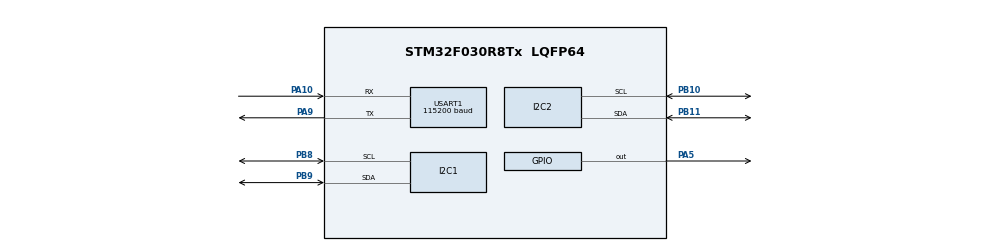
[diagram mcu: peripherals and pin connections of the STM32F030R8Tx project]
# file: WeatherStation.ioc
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Dma.Request0=USART1_RX
Dma.USART1_RX.0.Direction=DMA_PERIPH_TO_MEMORY
Dma.USART1_RX.0.Instance=DMA1_Channel3
Dma.USART1_RX.0.MemDataAlignment=DMA_MDATAALIGN_BYTE
Dma.USART1_RX.0.MemInc=DMA_MINC_ENABLE
Dma.USART1_RX.0.Mode=DMA_NORMAL
Dma.USART1_RX.0.PeriphDataAlignment=DMA_PDATAALIGN_BYTE
Dma.USART1_RX.0.PeriphInc=DMA_PINC_DISABLE
Dma.USART1_RX.0.Priority=DMA_PRIORITY_LOW
FREERTOS.Tasks01=defaultTask,24,256,StartDefaultTask,Default,NULL,Dynamic,NULL,NULL
FREERTOS.configTOTAL_HEAP_SIZE=2048
FREERTOS.configUSE_NEWLIB_REENTRANT=1
Mcu.Family=STM32F0
Mcu.Name=STM32F030R8Tx
Mcu.Package=LQFP64
NVIC.DMA1_Channel2_3_IRQn=true\:3\:0\:false\:false\:true\:true\:false\:true
NVIC.TIM6_IRQn=true\:3\:0\:false\:false\:true\:false\:false\:true
NVIC.TimeBase=TIM6_IRQn
NVIC.TimeBaseIP=TIM6
NVIC.USART1_IRQn=true\:3\:0\:false\:false\:true\:true\:true\:true
PA10.Mode=Asynchronous
PA10.Signal=USART1_RX
PA5.Signal=GPIO_Output
PA9.Mode=Asynchronous
PA9.Signal=USART1_TX
PB10.Mode=I2C
PB10.Signal=I2C2_SCL
PB11.Mode=I2C
PB11.Signal=I2C2_SDA
PB8.Mode=I2C
PB8.Signal=I2C1_SCL
PB9.Mode=I2C
PB9.Signal=I2C1_SDA
ProjectManager.HeapSize=0x200
ProjectManager.StackSize=0x400
ProjectManager.TargetToolchain=STM32CubeIDE
USART1.BaudRate=115200
USART1.VirtualMode-Asynchronous=VM_ASYNC
VP_FREERTOS_VS_CMSIS_V2.Mode=CMSIS_V2
VP_SYS_VS_tim6.Mode=TIM6
board=custom

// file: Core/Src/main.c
/* USER CODE BEGIN Header */
/**
 ******************************************************************************
 * @file           : main.c
 * @brief          : Main program body
 ******************************************************************************
 * @attention
 *
 * <h2><center>&copy; Copyright (c) 2021 STMicroelectronics.
 * All rights reserved.</center></h2>
 *
 * This software component is licensed by ST under BSD 3-Clause license,
 * the "License"; You may not use this file except in compliance with the
 * License. You may obtain a copy of the License at:
 *                        opensource.org/licenses/BSD-3-Clause
 *
 ******************************************************************************
 */
/* USER CODE END Header */
#include "main.h"
#include "cmsis_os.h"

/* USER CODE BEGIN Includes */
#include <stdio.h>
#include <stdlib.h>
#include <string.h>

#include "BMPXX80.h"
#include "SI7021.h"
#include "ESP8266.h"

/* USER CODE END Includes */

/* USER CODE BEGIN PD */
#define MILLISECONDS_BETWEEN_REQUESTS 60000
// Defines to enable parts of software
#define MEASURE_BMP280
#define MEASURE_SI7021
#define SEND_ESP8266

/* USER CODE END PD */

I2C_HandleTypeDef hi2c1;
I2C_HandleTypeDef hi2c2;

UART_HandleTypeDef huart1;
DMA_HandleTypeDef hdma_usart1_rx;

/* Definitions for defaultTask */
osThreadId_t defaultTaskHandle;
const osThreadAttr_t defaultTask_attributes = {
		.name = "defaultTask",
		.stack_size = 256 * 4,
		.priority = (osPriority_t) osPriorityNormal,
};
/* USER CODE BEGIN PV */
float bmp_temperature, si_temperature, si_humidity;
int32_t bmp_pressure;
int isOK = 0;
char buffer[100];
int LastRun = 60000;
/* USER CODE END PV */

void SystemClock_Config(void);
static void MX_GPIO_Init(void);
static void MX_I2C2_Init(void);
static void MX_DMA_Init(void);
static void MX_USART1_UART_Init(void);
static void MX_I2C1_Init(void);
void StartDefaultTask(void *argument);

/* USER CODE BEGIN 0 */

int waitForOK(int iterations)
{
	iterations /= 10;
	// 600 * 100 MS = 1 minute.
	isOK = 0;
	for (int i = 0; i < iterations; i++) {
		/* isOK becomes one if OK is found in serial feedback.
		 * (HAL_UARTEx_RxEventCallback) handles isOK.
		 * If OK is found, reset it, wait one second, and return.
		 */
		if(isOK) {
			isOK = 0;
			osDelay(1000 / portTICK_PERIOD_MS); // 1 Second
			return 1;
		}
		osDelay(10 / portTICK_PERIOD_MS); // 100 MS
	}
	return 0;
}

void sendCommand(char out[]){
	HAL_UART_Transmit(&huart1, (uint8_t *) out, strlen(out), 10);
}

/* USER CODE END 0 */

int main(void)
{

	/* MCU Configuration--------------------------------------------------------*/

	/* Reset of all peripherals, Initializes the Flash interface and the Systick. */
	HAL_Init();

	/* Configure the system clock */
	SystemClock_Config();

	/* Initialize all configured peripherals */
	MX_GPIO_Init();
	MX_I2C2_Init();
	MX_DMA_Init();
	MX_USART1_UART_Init();
	MX_I2C1_Init();

	/* Init scheduler */
	osKernelInitialize();

	/* Create the thread(s) */
	/* creation of defaultTask */
	defaultTaskHandle = osThreadNew(StartDefaultTask, NULL, &defaultTask_attributes);

	/* USER CODE BEGIN RTOS_EVENTS */
#ifdef MEASURE_BMP280
	BMP280_Init(&hi2c2, BMP280_TEMPERATURE_16BIT, BMP280_STANDARD, BMP280_FORCEDMODE);
#endif

#ifdef MEASURE_SI7021
	SI7021_Init(&hi2c1);
#endif

	/* add events, ... */
	/* USER CODE END RTOS_EVENTS */

	/* Start scheduler */
	osKernelStart();

	/* We should never get here as control is now taken by the scheduler */
	/* Infinite loop */
	while (1)
	{

	}
}

void SystemClock_Config(void)
{
	RCC_OscInitTypeDef RCC_OscInitStruct = {0};
	RCC_ClkInitTypeDef RCC_ClkInitStruct = {0};
	RCC_PeriphCLKInitTypeDef PeriphClkInit = {0};

	/** Initializes the RCC Oscillators according to the specified parameters
	 * in the RCC_OscInitTypeDef structure.
	 */
	RCC_OscInitStruct.OscillatorType = RCC_OSCILLATORTYPE_HSI;
	RCC_OscInitStruct.HSIState = RCC_HSI_ON;
	RCC_OscInitStruct.HSICalibrationValue = RCC_HSICALIBRATION_DEFAULT;
	RCC_OscInitStruct.PLL.PLLState = RCC_PLL_NONE;
	if (HAL_RCC_OscConfig(&RCC_OscInitStruct) != HAL_OK)
	{
		Error_Handler();
	}
	/** Initializes the CPU, AHB and APB buses clocks
	 */
	RCC_ClkInitStruct.ClockType = RCC_CLOCKTYPE_HCLK|RCC_CLOCKTYPE_SYSCLK
			|RCC_CLOCKTYPE_PCLK1;
	RCC_ClkInitStruct.SYSCLKSource = RCC_SYSCLKSOURCE_HSI;
	RCC_ClkInitStruct.AHBCLKDivider = RCC_SYSCLK_DIV1;
	RCC_ClkInitStruct.APB1CLKDivider = RCC_HCLK_DIV1;

	if (HAL_RCC_ClockConfig(&RCC_ClkInitStruct, FLASH_LATENCY_0) != HAL_OK)
	{
		Error_Handler();
	}
	PeriphClkInit.PeriphClockSelection = RCC_PERIPHCLK_USART1|RCC_PERIPHCLK_I2C1;
	PeriphClkInit.Usart1ClockSelection = RCC_USART1CLKSOURCE_PCLK1;
	PeriphClkInit.I2c1ClockSelection = RCC_I2C1CLKSOURCE_HSI;
	if (HAL_RCCEx_PeriphCLKConfig(&PeriphClkInit) != HAL_OK)
	{
		Error_Handler();
	}
}

static void MX_I2C1_Init(void)
{

	hi2c1.Instance = I2C1;
	hi2c1.Init.Timing = 0x2000090E;
	hi2c1.Init.OwnAddress1 = 0;
	hi2c1.Init.AddressingMode = I2C_ADDRESSINGMODE_7BIT;
	hi2c1.Init.DualAddressMode = I2C_DUALADDRESS_DISABLE;
	hi2c1.Init.OwnAddress2 = 0;
	hi2c1.Init.OwnAddress2Masks = I2C_OA2_NOMASK;
	hi2c1.Init.GeneralCallMode = I2C_GENERALCALL_DISABLE;
	hi2c1.Init.NoStretchMode = I2C_NOSTRETCH_DISABLE;
	if (HAL_I2C_Init(&hi2c1) != HAL_OK)
	{
		Error_Handler();
	}
	/** Configure Analogue filter
	 */
	if (HAL_I2CEx_ConfigAnalogFilter(&hi2c1, I2C_ANALOGFILTER_ENABLE) != HAL_OK)
	{
		Error_Handler();
	}
	/** Configure Digital filter
	 */
	if (HAL_I2CEx_ConfigDigitalFilter(&hi2c1, 0) != HAL_OK)
	{
		Error_Handler();
	}

}

static void MX_I2C2_Init(void)
{

	hi2c2.Instance = I2C2;
	hi2c2.Init.Timing = 0x2000090E;
	hi2c2.Init.OwnAddress1 = 0;
	hi2c2.Init.AddressingMode = I2C_ADDRESSINGMODE_7BIT;
	hi2c2.Init.DualAddressMode = I2C_DUALADDRESS_DISABLE;
	hi2c2.Init.OwnAddress2 = 0;
	hi2c2.Init.OwnAddress2Masks = I2C_OA2_NOMASK;
	hi2c2.Init.GeneralCallMode = I2C_GENERALCALL_DISABLE;
	hi2c2.Init.NoStretchMode = I2C_NOSTRETCH_DISABLE;
	if (HAL_I2C_Init(&hi2c2) != HAL_OK)
	{
		Error_Handler();
	}
	/** Configure Analogue filter
	 */
	if (HAL_I2CEx_ConfigAnalogFilter(&hi2c2, I2C_ANALOGFILTER_ENABLE) != HAL_OK)
	{
		Error_Handler();
	}
	/** Configure Digital filter
	 */
	if (HAL_I2CEx_ConfigDigitalFilter(&hi2c2, 0) != HAL_OK)
	{
		Error_Handler();
	}

}

static void MX_USART1_UART_Init(void)
{

	huart1.Instance = USART1;
	huart1.Init.BaudRate = 115200;
	huart1.Init.WordLength = UART_WORDLENGTH_8B;
	huart1.Init.StopBits = UART_STOPBITS_1;
	huart1.Init.Parity = UART_PARITY_NONE;
	huart1.Init.Mode = UART_MODE_TX_RX;
	huart1.Init.HwFlowCtl = UART_HWCONTROL_NONE;
	huart1.Init.OverSampling = UART_OVERSAMPLING_16;
	huart1.Init.OneBitSampling = UART_ONE_BIT_SAMPLE_DISABLE;
	huart1.AdvancedInit.AdvFeatureInit = UART_ADVFEATURE_NO_INIT;
	if (HAL_UART_Init(&huart1) != HAL_OK)
	{
		Error_Handler();
	}

}

static void MX_DMA_Init(void)
{

	/* DMA controller clock enable */
	__HAL_RCC_DMA1_CLK_ENABLE();

	/* DMA interrupt init */
	/* DMA1_Channel2_3_IRQn interrupt configuration */
	HAL_NVIC_SetPriority(DMA1_Channel2_3_IRQn, 3, 0);
	HAL_NVIC_EnableIRQ(DMA1_Channel2_3_IRQn);

}

static void MX_GPIO_Init(void)
{
	GPIO_InitTypeDef GPIO_InitStruct = {0};

	/* GPIO Ports Clock Enable */
	__HAL_RCC_GPIOA_CLK_ENABLE();
	__HAL_RCC_GPIOB_CLK_ENABLE();

	/*Configure GPIO pin Output Level */
	HAL_GPIO_WritePin(GPIOA, GPIO_PIN_5, GPIO_PIN_RESET);

	/*Configure GPIO pin : PA5 */
	GPIO_InitStruct.Pin = GPIO_PIN_5;
	GPIO_InitStruct.Mode = GPIO_MODE_OUTPUT_PP;
	GPIO_InitStruct.Pull = GPIO_NOPULL;
	GPIO_InitStruct.Speed = GPIO_SPEED_FREQ_LOW;
	HAL_GPIO_Init(GPIOA, &GPIO_InitStruct);

}

void StartDefaultTask(void *argument)
{
	/* USER CODE BEGIN 5 */
	/* Infinite loop */
	for(;;)
	{
		while(HAL_GetTick() - LastRun < MILLISECONDS_BETWEEN_REQUESTS);
		LastRun = HAL_GetTick();
		HAL_GPIO_TogglePin(GPIOA, GPIO_PIN_5);
#ifdef MEASURE_BMP280
		BMP280_ReadTemperatureAndPressure(&bmp_temperature, &bmp_pressure);
#else
		bmp_temperature = (rand() % (50 + 1 - (-20))) + (-20);
		bmp_pressure = (rand() % (1100 + 1 - 900)) + 900;
#endif

#ifdef MEASURE_SI7021
		SI7021_Measure(&si_temperature, &si_humidity, &hi2c1);
#else
		si_temperature = (rand() % (50 + 1 - (-20))) + (-20);
		si_humidity = (rand() % (100 + 1 - 0)) + 0;
#endif

		int si_temperature_int = (int)si_temperature;
		int si_humidity_int = (int)si_humidity;
		int bmp_pressure_int = (int)bmp_pressure;

#ifdef MEASURE_BMP280
		bmp_pressure_int /= 100;
#endif
#ifdef SEND_ESP8266
		// Disable echoing
		Ringbuf_Reset_Buf();
		Ringbuf_Reset_DMA();
		sendCommand("ATE1\r\n");
		if (!waitForOK(1000)) {
			Ringbuf_Reset_Buf();
			Ringbuf_Reset_DMA();
			osDelay(1000 / portTICK_PERIOD_MS);
		}

		// Set mode to AP client
		Ringbuf_Reset_Buf();
		Ringbuf_Reset_DMA();
		cwmode: sendCommand("AT+CWMODE=1\r\n");
		if (!waitForOK(5000)) {
			Ringbuf_Reset_Buf();
			Ringbuf_Reset_DMA();
			osDelay(1000 / portTICK_PERIOD_MS);
			goto cwmode;
		}

		// Connect to AP
		Ringbuf_Reset_Buf();
		Ringbuf_Reset_DMA();
		connect: sendCommand("AT+CWJAP=\"LAPTOP-VG095PM22913\",\"3987<Cs0\"\r\n");
		if (!waitForOK(16000)) {
			Ringbuf_Reset_Buf();
			Ringbuf_Reset_DMA();
			osDelay(1000 / portTICK_PERIOD_MS);
			goto cwmode;
		}

		// Make TCP connection
		Ringbuf_Reset_Buf();
		Ringbuf_Reset_DMA();
		tcp: sendCommand("AT+CIPSTART=\"TCP\",\"81.207.176.52\",8081\r\n");
		if (!waitForOK(5000)) {
			Ringbuf_Reset_Buf();
			Ringbuf_Reset_DMA();
			osDelay(1000 / portTICK_PERIOD_MS);
			//goto connect;
		}
#endif
		// Generate the request in buffer
		char requestBuffer[128];
		snprintf(requestBuffer, 128, "GET /api/v3/post?temperature=%d&humidity=%d&pressure=%d HTTP/1.1\r\nHost: 81.207.176.52\r\n\r\n", si_temperature_int, si_humidity_int, bmp_pressure_int);

		// Calculate the request length
		int num = strlen(requestBuffer);
		char snum[6];
		itoa(num, snum, 10);
#ifdef SEND_ESP8266
		// Send the request length
		sendCommand("AT+CIPSEND=");
		sendCommand(snum);
		sendCommand("\r\n");
		osDelay(2500);

		// Send the request in the buffer
		Ringbuf_Reset_Buf();
		Ringbuf_Reset_DMA();
		sendCommand(requestBuffer);
		if (!waitForOK(5000)) {
			Ringbuf_Reset_Buf();
			Ringbuf_Reset_DMA();
			osDelay(1000 / portTICK_PERIOD_MS);
			//goto tcp;
		}
		osDelay(5000);

		// Close the TCP connection
		Ringbuf_Reset_Buf();
		Ringbuf_Reset_DMA();
		sendCommand("AT+CIPCLOSE\r\n");
		if (!waitForOK(1500)) {
			Ringbuf_Reset_Buf();
			Ringbuf_Reset_DMA();
			osDelay(1000 / portTICK_PERIOD_MS);
		}
#endif
		// Toggle LED for status and wait
		HAL_GPIO_TogglePin(GPIOA, GPIO_PIN_5);
		osDelay(1500 / portTICK_PERIOD_MS);
	}
	/* USER CODE END 5 */
}

void HAL_TIM_PeriodElapsedCallback(TIM_HandleTypeDef *htim)
{
	if (htim->Instance == TIM6) {
		HAL_IncTick();
	}
}

void Error_Handler(void)
{
	__disable_irq();
	while (1)
	{
	}
}

/************************ (C) COPYRIGHT STMicroelectronics *****END OF FILE****/
